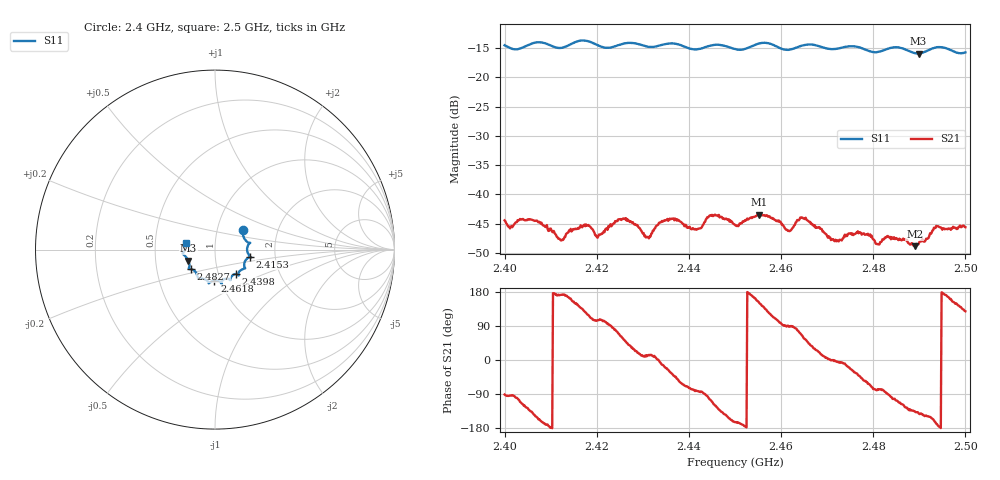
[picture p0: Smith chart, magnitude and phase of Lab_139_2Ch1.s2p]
# Hz S RI R 50
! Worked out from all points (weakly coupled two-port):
!   601 points, 2.4 GHz to 2.5 GHz, reference 50 ohm
!   highest |S21| = -43.47 dB at 2.4552 GHz (marker M1); lowest = -48.9 dB at 2.489 GHz (marker M2)
!   lowest |S11| = -15.9 dB at 2.4898 GHz (marker M3), VSWR 1.38, Z = 36.9 - j4.64 ohm
!   |S11| at or under -10 dB: start of sweep to end of sweep
!   S12 and S22 are empty: the file has one direction only
!   S11 on the Smith chart (normalised r, x): 2.4 GHz: 1.33, +0.30; 2.4153 GHz: 1.48, -0.12; 2.4398 GHz: 1.21, -0.34; 2.4618 GHz: 0.94, -0.33; 2.4827 GHz: 0.75, -0.17; 2.5 GHz: 0.72, +0.06
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2.4e9  0.1551 0.1072  -0.000116 -0.00598  0 0  0 0
2.407167e9  0.1964 0.0375  -0.00522 -0.00267  0 0  0 0
2.412167e9  0.1788 -0.0024  -0.00399 0.000578  0 0  0 0
2.415333e9  0.1967 -0.0396  -0.00436 0.00261  0 0  0 0
2.416667e9  0.2023 -0.0435  -0.00387 0.00367  0 0  0 0
2.420333e9  0.1816 -0.048  -0.00114 0.00422  0 0  0 0
2.426167e9  0.1674 -0.1022  0.00394 0.00467  0 0  0 0
2.431167e9  0.1408 -0.1164  0.00417 0.000918  0 0  0 0
2.433333e9  0.1297 -0.1336  0.0055 9.03e-05  0 0  0 0
2.439833e9  0.1155 -0.1357  0.00167 -0.00488  0 0  0 0
2.445167e9  0.0841 -0.1693  -0.00246 -0.00603  0 0  0 0
2.45e9  0.0654 -0.1623  -0.00525 -0.0015  0 0  0 0
2.455167e9  0.0364 -0.1915  -0.00595 0.0031  0 0  0 0
2.461833e9  -0.00364 -0.1728  5.79e-05 0.00483  0 0  0 0
2.466667e9  -0.0349 -0.188  0.00448 0.00336  0 0  0 0
2.472e9  -0.0702 -0.161  0.00395 -0.000261  0 0  0 0
2.482667e9  -0.1348 -0.1086  0.000389 -0.00421  0 0  0 0
2.483333e9  -0.1399 -0.1083  -0.000103 -0.00429  0 0  0 0
2.489e9  -0.1436 -0.0735  -0.00256 -0.00253  0 0  0 0
2.489833e9  -0.1479 -0.0613  -0.00289 -0.00238  0 0  0 0
2.493667e9  -0.1795 -0.0235  -0.00525 -0.0011  0 0  0 0
2.5e9  -0.1592 0.0386  -0.00326 0.00409  0 0  0 0
